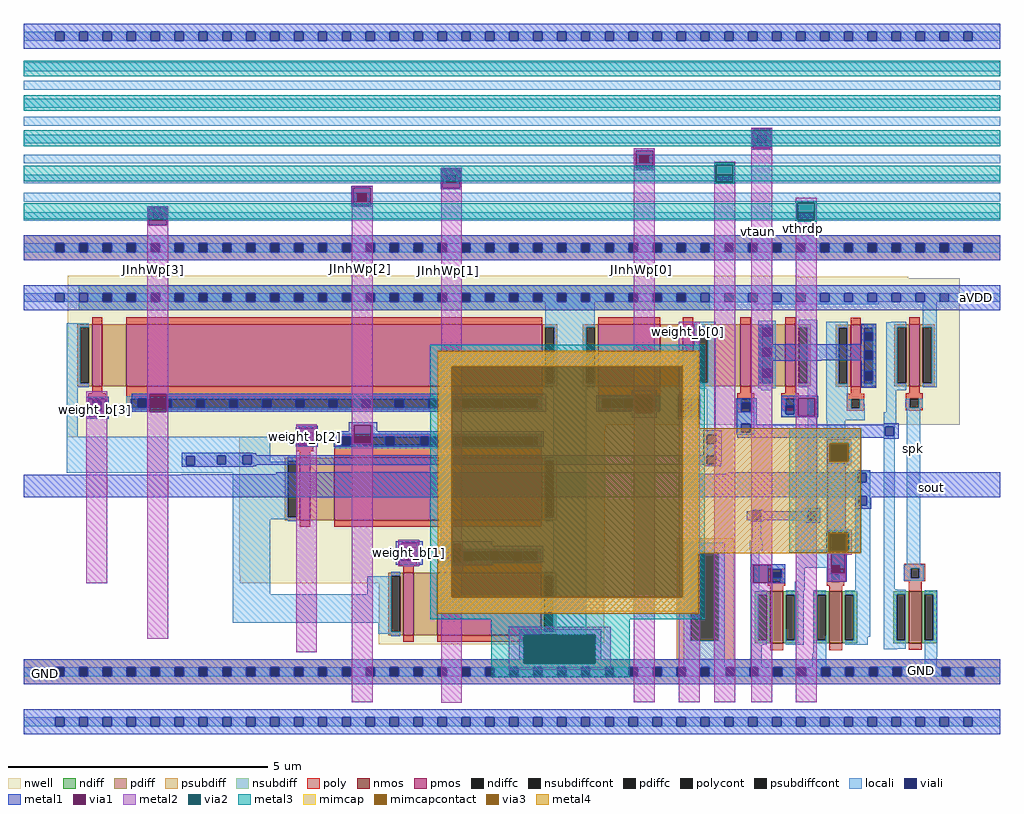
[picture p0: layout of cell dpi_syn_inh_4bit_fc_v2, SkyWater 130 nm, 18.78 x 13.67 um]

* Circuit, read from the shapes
.subckt dpi_syn_inh_4bit_fc_v2 spk vthrdp vtaun sout GND aVDD JInhWp[0] JInhWp[1] JInhWp[2] JInhWp[3] weight_b[0] weight_b[1] weight_b[2] weight_b[3]
XM1 n1 vtaun GND GND sky130_fd_pr__nfet_01v8 w=1 l=0.25
XM2 sout n1 GND GND sky130_fd_pr__nfet_01v8 w=1 l=0.25
XM3 GND spk n2 GND sky130_fd_pr__nfet_01v8 w=1 l=0.25
XM4 n3 weight_b[3] n4 aVDD sky130_fd_pr__pfet_01v8 w=1.2 l=0.2
XM5 aVDD JInhWp[3] n3 aVDD sky130_fd_pr__pfet_01v8 w=1.2 l=8
XM6 n5 weight_b[2] n4 aVDD sky130_fd_pr__pfet_01v8 w=1.2 l=0.2
XM7 aVDD JInhWp[2] n5 aVDD sky130_fd_pr__pfet_01v8 w=1.2 l=4
XM8 n6 weight_b[1] n4 aVDD sky130_fd_pr__pfet_01v8 w=1.2 l=0.2
XM9 aVDD JInhWp[1] n6 aVDD sky130_fd_pr__pfet_01v8 w=1.2 l=2
XM10 n7 JInhWp[0] aVDD aVDD sky130_fd_pr__pfet_01v8 w=1.2 l=1.2
XM11 n4 weight_b[0] n7 aVDD sky130_fd_pr__pfet_01v8 w=1.2 l=0.2
XM12 n8 n2 n4 aVDD sky130_fd_pr__pfet_01v8 w=1.2 l=0.2
XM13 GND vthrdp n8 aVDD sky130_fd_pr__pfet_01v8 w=1.2 l=0.2
XM14 n8 n1 n1 aVDD sky130_fd_pr__pfet_01v8 w=1.2 l=0.2
XM15 aVDD spk n2 aVDD sky130_fd_pr__pfet_01v8 w=1.2 l=0.2
XC16 n1 GND sky130_fd_pr__cap_mim_m3_1 w=5 l=5
.ends

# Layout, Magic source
magic
tech sky130A
magscale 1 2
<< psubdiff >>
rect 5031 4188 8787 4219
rect 5031 4154 5151 4188
rect 5185 4154 5243 4188
rect 5277 4154 5335 4188
rect 5369 4154 5427 4188
rect 5461 4154 5519 4188
rect 5553 4154 5611 4188
rect 5645 4154 5703 4188
rect 5737 4154 5795 4188
rect 5829 4154 5887 4188
rect 5921 4154 5979 4188
rect 6013 4154 6071 4188
rect 6105 4154 6163 4188
rect 6197 4154 6255 4188
rect 6289 4154 6347 4188
rect 6381 4154 6439 4188
rect 6473 4154 6531 4188
rect 6565 4154 6623 4188
rect 6657 4154 6715 4188
rect 6749 4154 6807 4188
rect 6841 4154 6899 4188
rect 6933 4154 6991 4188
rect 7025 4154 7083 4188
rect 7117 4154 7175 4188
rect 7209 4154 7267 4188
rect 7301 4154 7359 4188
rect 7393 4154 7451 4188
rect 7485 4154 7543 4188
rect 7577 4154 7635 4188
rect 7669 4154 7727 4188
rect 7761 4154 7819 4188
rect 7853 4154 7911 4188
rect 7945 4154 8003 4188
rect 8037 4154 8095 4188
rect 8129 4154 8187 4188
rect 8221 4154 8279 4188
rect 8313 4154 8371 4188
rect 8405 4154 8463 4188
rect 8497 4154 8555 4188
rect 8589 4154 8647 4188
rect 8681 4154 8787 4188
rect 5031 4123 8787 4154
rect 5031 2556 8787 2587
rect 5031 2522 5151 2556
rect 5185 2522 5243 2556
rect 5277 2522 5335 2556
rect 5369 2522 5427 2556
rect 5461 2522 5519 2556
rect 5553 2522 5611 2556
rect 5645 2522 5703 2556
rect 5737 2522 5795 2556
rect 5829 2522 5887 2556
rect 5921 2522 5979 2556
rect 6013 2522 6071 2556
rect 6105 2522 6163 2556
rect 6197 2522 6255 2556
rect 6289 2522 6347 2556
rect 6381 2522 6439 2556
rect 6473 2522 6531 2556
rect 6565 2522 6623 2556
rect 6657 2522 6715 2556
rect 6749 2522 6807 2556
rect 6841 2522 6899 2556
rect 6933 2522 6991 2556
rect 7025 2522 7083 2556
rect 7117 2522 7175 2556
rect 7209 2522 7267 2556
rect 7301 2522 7359 2556
rect 7393 2522 7451 2556
rect 7485 2522 7543 2556
rect 7577 2522 7635 2556
rect 7669 2522 7731 2556
rect 7765 2522 7823 2556
rect 7857 2522 7915 2556
rect 7949 2522 8007 2556
rect 8041 2522 8099 2556
rect 8133 2522 8191 2556
rect 8225 2522 8283 2556
rect 8317 2522 8375 2556
rect 8409 2522 8470 2556
rect 8504 2522 8562 2556
rect 8596 2522 8654 2556
rect 8688 2522 8787 2556
rect 5031 2491 8787 2522
<< psubdiffcont >>
rect 5151 4154 5185 4188
rect 5243 4154 5277 4188
rect 5335 4154 5369 4188
rect 5427 4154 5461 4188
rect 5519 4154 5553 4188
rect 5611 4154 5645 4188
rect 5703 4154 5737 4188
rect 5795 4154 5829 4188
rect 5887 4154 5921 4188
rect 5979 4154 6013 4188
rect 6071 4154 6105 4188
rect 6163 4154 6197 4188
rect 6255 4154 6289 4188
rect 6347 4154 6381 4188
rect 6439 4154 6473 4188
rect 6531 4154 6565 4188
rect 6623 4154 6657 4188
rect 6715 4154 6749 4188
rect 6807 4154 6841 4188
rect 6899 4154 6933 4188
rect 6991 4154 7025 4188
rect 7083 4154 7117 4188
rect 7175 4154 7209 4188
rect 7267 4154 7301 4188
rect 7359 4154 7393 4188
rect 7451 4154 7485 4188
rect 7543 4154 7577 4188
rect 7635 4154 7669 4188
rect 7727 4154 7761 4188
rect 7819 4154 7853 4188
rect 7911 4154 7945 4188
rect 8003 4154 8037 4188
rect 8095 4154 8129 4188
rect 8187 4154 8221 4188
rect 8279 4154 8313 4188
rect 8371 4154 8405 4188
rect 8463 4154 8497 4188
rect 8555 4154 8589 4188
rect 8647 4154 8681 4188
rect 5151 2522 5185 2556
rect 5243 2522 5277 2556
rect 5335 2522 5369 2556
rect 5427 2522 5461 2556
rect 5519 2522 5553 2556
rect 5611 2522 5645 2556
rect 5703 2522 5737 2556
rect 5795 2522 5829 2556
rect 5887 2522 5921 2556
rect 5979 2522 6013 2556
rect 6071 2522 6105 2556
rect 6163 2522 6197 2556
rect 6255 2522 6289 2556
rect 6347 2522 6381 2556
rect 6439 2522 6473 2556
rect 6531 2522 6565 2556
rect 6623 2522 6657 2556
rect 6715 2522 6749 2556
rect 6807 2522 6841 2556
rect 6899 2522 6933 2556
rect 6991 2522 7025 2556
rect 7083 2522 7117 2556
rect 7175 2522 7209 2556
rect 7267 2522 7301 2556
rect 7359 2522 7393 2556
rect 7451 2522 7485 2556
rect 7543 2522 7577 2556
rect 7635 2522 7669 2556
rect 7731 2522 7765 2556
rect 7823 2522 7857 2556
rect 7915 2522 7949 2556
rect 8007 2522 8041 2556
rect 8099 2522 8133 2556
rect 8191 2522 8225 2556
rect 8283 2522 8317 2556
rect 8375 2522 8409 2556
rect 8470 2522 8504 2556
rect 8562 2522 8596 2556
rect 8654 2522 8688 2556
<< locali >>
rect 5031 4967 5151 5001
rect 5185 4967 5243 5001
rect 5277 4967 5335 5001
rect 5369 4967 5427 5001
rect 5461 4967 5519 5001
rect 5553 4967 5611 5001
rect 5645 4967 5703 5001
rect 5737 4967 5795 5001
rect 5829 4967 5887 5001
rect 5921 4967 5979 5001
rect 6013 4967 6071 5001
rect 6105 4967 6163 5001
rect 6197 4967 6255 5001
rect 6289 4967 6347 5001
rect 6381 4967 6439 5001
rect 6473 4967 6531 5001
rect 6565 4967 6623 5001
rect 6657 4967 6715 5001
rect 6749 4967 6807 5001
rect 6841 4967 6899 5001
rect 6933 4967 6991 5001
rect 7025 4967 7083 5001
rect 7117 4967 7175 5001
rect 7209 4967 7267 5001
rect 7301 4967 7359 5001
rect 7393 4967 7451 5001
rect 7485 4967 7543 5001
rect 7577 4967 7635 5001
rect 7669 4967 7727 5001
rect 7761 4967 7819 5001
rect 7853 4967 7911 5001
rect 7945 4967 8003 5001
rect 8037 4967 8095 5001
rect 8129 4967 8187 5001
rect 8221 4967 8279 5001
rect 8313 4967 8371 5001
rect 8405 4967 8463 5001
rect 8497 4967 8555 5001
rect 8589 4967 8647 5001
rect 8681 4967 8787 5001
rect 5031 4849 8787 4884
rect 5031 4779 8787 4813
rect 5031 4710 8787 4744
rect 5031 4641 8787 4675
rect 5031 4572 7853 4606
rect 7887 4572 8787 4606
rect 5031 4495 7401 4529
rect 7435 4495 8787 4529
rect 5031 4418 6658 4452
rect 6692 4418 8787 4452
rect 5031 4348 6314 4382
rect 6348 4348 8787 4382
rect 5031 4274 5529 4308
rect 5563 4274 8787 4308
rect 5031 4154 5151 4188
rect 5185 4154 5243 4188
rect 5277 4154 5335 4188
rect 5369 4154 5427 4188
rect 5461 4154 5519 4188
rect 5553 4154 5611 4188
rect 5645 4154 5703 4188
rect 5737 4154 5795 4188
rect 5829 4154 5887 4188
rect 5921 4154 5979 4188
rect 6013 4154 6071 4188
rect 6105 4154 6163 4188
rect 6197 4154 6255 4188
rect 6289 4154 6347 4188
rect 6381 4154 6439 4188
rect 6473 4154 6531 4188
rect 6565 4154 6623 4188
rect 6657 4154 6715 4188
rect 6749 4154 6807 4188
rect 6841 4154 6899 4188
rect 6933 4154 6991 4188
rect 7025 4154 7083 4188
rect 7117 4154 7175 4188
rect 7209 4154 7267 4188
rect 7301 4154 7359 4188
rect 7393 4154 7451 4188
rect 7485 4154 7543 4188
rect 7577 4154 7635 4188
rect 7669 4154 7727 4188
rect 7761 4154 7819 4188
rect 7853 4154 7911 4188
rect 7945 4154 8003 4188
rect 8037 4154 8095 4188
rect 8129 4154 8187 4188
rect 8221 4154 8279 4188
rect 8313 4154 8371 4188
rect 8405 4154 8463 4188
rect 8497 4154 8555 4188
rect 8589 4154 8647 4188
rect 8681 4154 8787 4188
rect 8436 3389 8479 3412
rect 5031 2522 5151 2556
rect 5185 2522 5243 2556
rect 5277 2522 5335 2556
rect 5369 2522 5427 2556
rect 5461 2522 5519 2556
rect 5553 2522 5611 2556
rect 5645 2522 5703 2556
rect 5737 2522 5795 2556
rect 5829 2522 5887 2556
rect 5921 2522 5979 2556
rect 6013 2522 6071 2556
rect 6105 2522 6163 2556
rect 6197 2522 6255 2556
rect 6289 2522 6347 2556
rect 6381 2522 6439 2556
rect 6473 2522 6531 2556
rect 6565 2522 6623 2556
rect 6657 2522 6715 2556
rect 6749 2522 6807 2556
rect 6841 2522 6899 2556
rect 6933 2522 6991 2556
rect 7025 2522 7083 2556
rect 7117 2522 7175 2556
rect 7209 2522 7267 2556
rect 7301 2522 7359 2556
rect 7393 2522 7451 2556
rect 7485 2522 7543 2556
rect 7577 2522 7635 2556
rect 7669 2522 7731 2556
rect 7765 2522 7823 2556
rect 7857 2522 7915 2556
rect 7949 2522 8007 2556
rect 8041 2522 8099 2556
rect 8133 2522 8191 2556
rect 8225 2522 8283 2556
rect 8317 2522 8375 2556
rect 8409 2522 8470 2556
rect 8504 2522 8562 2556
rect 8596 2522 8654 2556
rect 8688 2522 8787 2556
rect 5031 2330 5151 2364
rect 5185 2330 5243 2364
rect 5277 2330 5335 2364
rect 5369 2330 5427 2364
rect 5461 2330 5519 2364
rect 5553 2330 5611 2364
rect 5645 2330 5703 2364
rect 5737 2330 5795 2364
rect 5829 2330 5887 2364
rect 5921 2330 5979 2364
rect 6013 2330 6071 2364
rect 6105 2330 6163 2364
rect 6197 2330 6255 2364
rect 6289 2330 6347 2364
rect 6381 2330 6439 2364
rect 6473 2330 6531 2364
rect 6565 2330 6623 2364
rect 6657 2330 6715 2364
rect 6749 2330 6807 2364
rect 6841 2330 6899 2364
rect 6933 2330 6991 2364
rect 7025 2330 7083 2364
rect 7117 2330 7175 2364
rect 7209 2330 7267 2364
rect 7301 2330 7359 2364
rect 7393 2330 7451 2364
rect 7485 2330 7543 2364
rect 7577 2330 7635 2364
rect 7669 2330 7727 2364
rect 7761 2330 7819 2364
rect 7853 2330 7911 2364
rect 7945 2330 8003 2364
rect 8037 2330 8095 2364
rect 8129 2330 8187 2364
rect 8221 2330 8279 2364
rect 8313 2330 8371 2364
rect 8405 2330 8463 2364
rect 8497 2330 8555 2364
rect 8589 2330 8647 2364
rect 8681 2330 8787 2364
<< viali >>
rect 5151 4967 5185 5001
rect 5243 4967 5277 5001
rect 5335 4967 5369 5001
rect 5427 4967 5461 5001
rect 5519 4967 5553 5001
rect 5611 4967 5645 5001
rect 5703 4967 5737 5001
rect 5795 4967 5829 5001
rect 5887 4967 5921 5001
rect 5979 4967 6013 5001
rect 6071 4967 6105 5001
rect 6163 4967 6197 5001
rect 6255 4967 6289 5001
rect 6347 4967 6381 5001
rect 6439 4967 6473 5001
rect 6531 4967 6565 5001
rect 6623 4967 6657 5001
rect 6715 4967 6749 5001
rect 6807 4967 6841 5001
rect 6899 4967 6933 5001
rect 6991 4967 7025 5001
rect 7083 4967 7117 5001
rect 7175 4967 7209 5001
rect 7267 4967 7301 5001
rect 7359 4967 7393 5001
rect 7451 4967 7485 5001
rect 7543 4967 7577 5001
rect 7635 4967 7669 5001
rect 7727 4967 7761 5001
rect 7819 4967 7853 5001
rect 7911 4967 7945 5001
rect 8003 4967 8037 5001
rect 8095 4967 8129 5001
rect 8187 4967 8221 5001
rect 8279 4967 8313 5001
rect 8371 4967 8405 5001
rect 8463 4967 8497 5001
rect 8555 4967 8589 5001
rect 8647 4967 8681 5001
rect 7853 4572 7887 4606
rect 7401 4495 7435 4529
rect 6658 4418 6692 4452
rect 6314 4348 6348 4382
rect 5529 4274 5563 4308
rect 5151 4154 5185 4188
rect 5243 4154 5277 4188
rect 5335 4154 5369 4188
rect 5427 4154 5461 4188
rect 5519 4154 5553 4188
rect 5611 4154 5645 4188
rect 5703 4154 5737 4188
rect 5795 4154 5829 4188
rect 5887 4154 5921 4188
rect 5979 4154 6013 4188
rect 6071 4154 6105 4188
rect 6163 4154 6197 4188
rect 6255 4154 6289 4188
rect 6347 4154 6381 4188
rect 6439 4154 6473 4188
rect 6531 4154 6565 4188
rect 6623 4154 6657 4188
rect 6715 4154 6749 4188
rect 6807 4154 6841 4188
rect 6899 4154 6933 4188
rect 6991 4154 7025 4188
rect 7083 4154 7117 4188
rect 7175 4154 7209 4188
rect 7267 4154 7301 4188
rect 7359 4154 7393 4188
rect 7451 4154 7485 4188
rect 7543 4154 7577 4188
rect 7635 4154 7669 4188
rect 7727 4154 7761 4188
rect 7819 4154 7853 4188
rect 7911 4154 7945 4188
rect 8003 4154 8037 4188
rect 8095 4154 8129 4188
rect 8187 4154 8221 4188
rect 8279 4154 8313 4188
rect 8371 4154 8405 4188
rect 8463 4154 8497 4188
rect 8555 4154 8589 4188
rect 8647 4154 8681 4188
rect 5151 2522 5185 2556
rect 5243 2522 5277 2556
rect 5335 2522 5369 2556
rect 5427 2522 5461 2556
rect 5519 2522 5553 2556
rect 5611 2522 5645 2556
rect 5703 2522 5737 2556
rect 5795 2522 5829 2556
rect 5887 2522 5921 2556
rect 5979 2522 6013 2556
rect 6071 2522 6105 2556
rect 6163 2522 6197 2556
rect 6255 2522 6289 2556
rect 6347 2522 6381 2556
rect 6439 2522 6473 2556
rect 6531 2522 6565 2556
rect 6623 2522 6657 2556
rect 6715 2522 6749 2556
rect 6807 2522 6841 2556
rect 6899 2522 6933 2556
rect 6991 2522 7025 2556
rect 7083 2522 7117 2556
rect 7175 2522 7209 2556
rect 7267 2522 7301 2556
rect 7359 2522 7393 2556
rect 7451 2522 7485 2556
rect 7543 2522 7577 2556
rect 7635 2522 7669 2556
rect 7731 2522 7765 2556
rect 7823 2522 7857 2556
rect 7915 2522 7949 2556
rect 8007 2522 8041 2556
rect 8099 2522 8133 2556
rect 8191 2522 8225 2556
rect 8283 2522 8317 2556
rect 8375 2522 8409 2556
rect 8470 2522 8504 2556
rect 8562 2522 8596 2556
rect 8654 2522 8688 2556
rect 5151 2330 5185 2364
rect 5243 2330 5277 2364
rect 5335 2330 5369 2364
rect 5427 2330 5461 2364
rect 5519 2330 5553 2364
rect 5611 2330 5645 2364
rect 5703 2330 5737 2364
rect 5795 2330 5829 2364
rect 5887 2330 5921 2364
rect 5979 2330 6013 2364
rect 6071 2330 6105 2364
rect 6163 2330 6197 2364
rect 6255 2330 6289 2364
rect 6347 2330 6381 2364
rect 6439 2330 6473 2364
rect 6531 2330 6565 2364
rect 6623 2330 6657 2364
rect 6715 2330 6749 2364
rect 6807 2330 6841 2364
rect 6899 2330 6933 2364
rect 6991 2330 7025 2364
rect 7083 2330 7117 2364
rect 7175 2330 7209 2364
rect 7267 2330 7301 2364
rect 7359 2330 7393 2364
rect 7451 2330 7485 2364
rect 7543 2330 7577 2364
rect 7635 2330 7669 2364
rect 7727 2330 7761 2364
rect 7819 2330 7853 2364
rect 7911 2330 7945 2364
rect 8003 2330 8037 2364
rect 8095 2330 8129 2364
rect 8187 2330 8221 2364
rect 8279 2330 8313 2364
rect 8371 2330 8405 2364
rect 8463 2330 8497 2364
rect 8555 2330 8589 2364
rect 8647 2330 8681 2364
<< metal1 >>
rect 5031 5001 8787 5032
rect 5031 4967 5151 5001
rect 5185 4967 5243 5001
rect 5277 4967 5335 5001
rect 5369 4967 5427 5001
rect 5461 4967 5519 5001
rect 5553 4967 5611 5001
rect 5645 4967 5703 5001
rect 5737 4967 5795 5001
rect 5829 4967 5887 5001
rect 5921 4967 5979 5001
rect 6013 4967 6071 5001
rect 6105 4967 6163 5001
rect 6197 4967 6255 5001
rect 6289 4967 6347 5001
rect 6381 4967 6439 5001
rect 6473 4967 6531 5001
rect 6565 4967 6623 5001
rect 6657 4967 6715 5001
rect 6749 4967 6807 5001
rect 6841 4967 6899 5001
rect 6933 4967 6991 5001
rect 7025 4967 7083 5001
rect 7117 4967 7175 5001
rect 7209 4967 7267 5001
rect 7301 4967 7359 5001
rect 7393 4967 7451 5001
rect 7485 4967 7543 5001
rect 7577 4967 7635 5001
rect 7669 4967 7727 5001
rect 7761 4967 7819 5001
rect 7853 4967 7911 5001
rect 7945 4967 8003 5001
rect 8037 4967 8095 5001
rect 8129 4967 8187 5001
rect 8221 4967 8279 5001
rect 8313 4967 8371 5001
rect 8405 4967 8463 5001
rect 8497 4967 8555 5001
rect 8589 4967 8647 5001
rect 8681 4967 8787 5001
rect 5031 4936 8787 4967
rect 7830 4622 7910 4628
rect 7830 4554 7836 4622
rect 7904 4554 7910 4622
rect 7378 4544 7458 4553
rect 7830 4548 7910 4554
rect 7378 4476 7385 4544
rect 7453 4476 7458 4544
rect 6635 4470 6715 4476
rect 6291 4402 6373 4408
rect 6291 4334 6298 4402
rect 6366 4334 6373 4402
rect 6635 4402 6641 4470
rect 6709 4402 6715 4470
rect 7378 4469 7458 4476
rect 6635 4396 6715 4402
rect 5506 4325 5586 4331
rect 6291 4328 6373 4334
rect 5506 4257 5512 4325
rect 5580 4257 5586 4325
rect 5031 4188 8787 4219
rect 5031 4154 5151 4188
rect 5185 4154 5243 4188
rect 5277 4154 5335 4188
rect 5369 4154 5427 4188
rect 5461 4154 5519 4188
rect 5553 4154 5611 4188
rect 5645 4154 5703 4188
rect 5737 4154 5795 4188
rect 5829 4154 5887 4188
rect 5921 4154 5979 4188
rect 6013 4154 6071 4188
rect 6105 4154 6163 4188
rect 6197 4154 6255 4188
rect 6289 4154 6347 4188
rect 6381 4154 6439 4188
rect 6473 4154 6531 4188
rect 6565 4154 6623 4188
rect 6657 4154 6715 4188
rect 6749 4154 6807 4188
rect 6841 4154 6899 4188
rect 6933 4154 6991 4188
rect 7025 4154 7083 4188
rect 7117 4154 7175 4188
rect 7209 4154 7267 4188
rect 7301 4154 7359 4188
rect 7393 4154 7451 4188
rect 7485 4154 7543 4188
rect 7577 4154 7635 4188
rect 7669 4154 7727 4188
rect 7761 4154 7819 4188
rect 7853 4154 7911 4188
rect 7945 4154 8003 4188
rect 8037 4154 8095 4188
rect 8129 4154 8187 4188
rect 8221 4154 8279 4188
rect 8313 4154 8371 4188
rect 8405 4154 8463 4188
rect 8497 4154 8555 4188
rect 8589 4154 8647 4188
rect 8681 4154 8787 4188
rect 5031 4123 8787 4154
rect 8531 3945 8559 4026
rect 8560 3945 8763 4026
rect 8507 3211 8787 3307
rect 5031 2556 8787 2587
rect 5031 2522 5151 2556
rect 5185 2522 5243 2556
rect 5277 2522 5335 2556
rect 5369 2522 5427 2556
rect 5461 2522 5519 2556
rect 5553 2522 5611 2556
rect 5645 2522 5703 2556
rect 5737 2522 5795 2556
rect 5829 2522 5887 2556
rect 5921 2522 5979 2556
rect 6013 2522 6071 2556
rect 6105 2522 6163 2556
rect 6197 2522 6255 2556
rect 6289 2522 6347 2556
rect 6381 2522 6439 2556
rect 6473 2522 6531 2556
rect 6565 2522 6623 2556
rect 6657 2522 6715 2556
rect 6749 2522 6807 2556
rect 6841 2522 6899 2556
rect 6933 2522 6991 2556
rect 7025 2522 7083 2556
rect 7117 2522 7175 2556
rect 7209 2522 7267 2556
rect 7301 2522 7359 2556
rect 7393 2522 7451 2556
rect 7485 2522 7543 2556
rect 7577 2522 7635 2556
rect 7669 2522 7731 2556
rect 7765 2522 7823 2556
rect 7857 2522 7915 2556
rect 7949 2522 8007 2556
rect 8041 2522 8099 2556
rect 8133 2522 8191 2556
rect 8225 2522 8283 2556
rect 8317 2522 8375 2556
rect 8409 2522 8470 2556
rect 8504 2522 8562 2556
rect 8596 2522 8654 2556
rect 8688 2522 8787 2556
rect 5031 2491 8787 2522
rect 5031 2364 8787 2395
rect 5031 2330 5151 2364
rect 5185 2330 5243 2364
rect 5277 2330 5335 2364
rect 5369 2330 5427 2364
rect 5461 2330 5519 2364
rect 5553 2330 5611 2364
rect 5645 2330 5703 2364
rect 5737 2330 5795 2364
rect 5829 2330 5887 2364
rect 5921 2330 5979 2364
rect 6013 2330 6071 2364
rect 6105 2330 6163 2364
rect 6197 2330 6255 2364
rect 6289 2330 6347 2364
rect 6381 2330 6439 2364
rect 6473 2330 6531 2364
rect 6565 2330 6623 2364
rect 6657 2330 6715 2364
rect 6749 2330 6807 2364
rect 6841 2330 6899 2364
rect 6933 2330 6991 2364
rect 7025 2330 7083 2364
rect 7117 2330 7175 2364
rect 7209 2330 7267 2364
rect 7301 2330 7359 2364
rect 7393 2330 7451 2364
rect 7485 2330 7543 2364
rect 7577 2330 7635 2364
rect 7669 2330 7727 2364
rect 7761 2330 7819 2364
rect 7853 2330 7911 2364
rect 7945 2330 8003 2364
rect 8037 2330 8095 2364
rect 8129 2330 8187 2364
rect 8221 2330 8279 2364
rect 8313 2330 8371 2364
rect 8405 2330 8463 2364
rect 8497 2330 8555 2364
rect 8589 2330 8647 2364
rect 8681 2330 8787 2364
rect 5031 2299 8787 2330
<< via1 >>
rect 7836 4606 7904 4622
rect 7836 4572 7853 4606
rect 7853 4572 7887 4606
rect 7887 4572 7904 4606
rect 7836 4554 7904 4572
rect 7385 4529 7453 4544
rect 7385 4495 7401 4529
rect 7401 4495 7435 4529
rect 7435 4495 7453 4529
rect 7385 4476 7453 4495
rect 6298 4382 6366 4402
rect 6298 4348 6314 4382
rect 6314 4348 6348 4382
rect 6348 4348 6366 4382
rect 6298 4334 6366 4348
rect 6641 4452 6709 4470
rect 6641 4418 6658 4452
rect 6658 4418 6692 4452
rect 6692 4418 6709 4452
rect 6641 4402 6709 4418
rect 5512 4308 5580 4325
rect 5512 4274 5529 4308
rect 5529 4274 5563 4308
rect 5563 4274 5580 4308
rect 5512 4257 5580 4274
<< metal2 >>
rect 7830 4622 7910 4633
rect 7830 4554 7836 4622
rect 7904 4554 7910 4622
rect 7378 4544 7458 4554
rect 6636 4470 6716 4478
rect 6293 4402 6373 4410
rect 6293 4334 6298 4402
rect 6366 4334 6373 4402
rect 5506 4325 5586 4331
rect 5506 4257 5512 4325
rect 5580 4257 5586 4325
rect 5506 4032 5586 4257
rect 6293 4032 6373 4334
rect 6636 4402 6641 4470
rect 6709 4402 6716 4470
rect 6636 4032 6716 4402
rect 7378 4476 7385 4544
rect 7453 4476 7458 4544
rect 7378 4032 7458 4476
rect 7688 4490 7769 4501
rect 7688 4422 7693 4490
rect 7761 4422 7769 4490
rect 7688 4032 7769 4422
rect 7830 4032 7910 4554
rect 8001 4344 8081 4363
rect 8001 4276 8007 4344
rect 8075 4276 8081 4344
rect 8001 4032 8081 4276
rect 7551 3815 7619 3883
rect 5278 3521 5346 3589
rect 6087 3410 6155 3478
rect 6482 2967 6550 3035
<< via2 >>
rect 7693 4422 7761 4490
rect 8007 4276 8075 4344
<< metal3 >>
rect 5031 4831 8787 4891
rect 5031 4698 8787 4758
rect 5031 4562 8787 4622
rect 7688 4490 7767 4498
rect 7688 4487 7693 4490
rect 5031 4427 7693 4487
rect 5773 4426 5859 4427
rect 7688 4422 7693 4427
rect 7761 4487 7767 4490
rect 7761 4427 8787 4487
rect 7761 4422 7767 4427
rect 7688 4416 7767 4422
rect 8000 4344 8081 4349
rect 8000 4341 8007 4344
rect 5031 4281 8007 4341
rect 8000 4276 8007 4281
rect 8075 4341 8081 4344
rect 8075 4281 8787 4341
rect 8075 4276 8081 4281
rect 8000 4271 8081 4276
use dpi_syn_inh_4bit_fc_v2_norail  dpi_syn_inh_4bit_fc_v2_norail_0
transform 1 0 0 0 1 0
box 5031 2299 8787 4097
<< labels >>
flabel metal2 5525 4079 5535 4091 1 FreeSans 320 0 0 0 JInhWp[3]
port 33 n
flabel metal2 6323 4085 6329 4096 1 FreeSans 320 0 0 0 JInhWp[2]
port 32 n
flabel metal2 7400 4082 7411 4094 1 FreeSans 320 0 0 0 JInhWp[0]
port 30 n
flabel metal2 7855 4231 7861 4237 1 FreeSans 320 0 0 0 vtaun
port 7 n
flabel metal1 8484 2543 8484 2543 1 FreeSans 320 0 0 0 GND
port 12 n
flabel metal1 8512 3233 8537 3262 1 FreeSans 320 0 0 0 sout
port 9 n
flabel metal2 8027 4245 8031 4247 1 FreeSans 320 0 0 0 vthrdp
port 3 n
flabel metal2 6660 4071 6673 4097 1 FreeSans 320 0 0 0 JInhWp[1]
port 31 n
flabel metal1 8690 3972 8702 3986 1 FreeSans 320 0 0 0 aVDD
port 16 n
flabel locali 8450 3398 8456 3400 1 FreeSans 320 0 0 0 spk
port 1 n
flabel metal2 7579 3842 7595 3855 1 FreeSans 320 0 0 0 weight_b[0]
port 40 n
flabel metal2 6505 2993 6521 3006 1 FreeSans 320 0 0 0 weight_b[1]
port 41 n
flabel metal2 6108 3437 6124 3450 1 FreeSans 320 0 0 0 weight_b[2]
port 42 n
flabel metal2 5300 3541 5316 3554 1 FreeSans 320 0 0 0 weight_b[3]
port 43 n
flabel metal1 5108 2525 5121 2543 1 FreeSans 320 0 0 0 GND
port 12 n
<< end >>

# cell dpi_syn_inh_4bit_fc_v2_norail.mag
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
